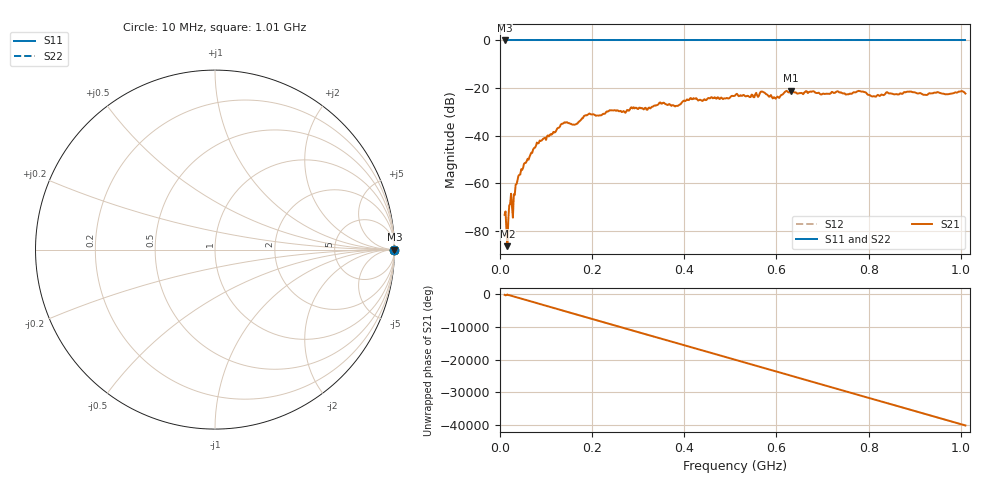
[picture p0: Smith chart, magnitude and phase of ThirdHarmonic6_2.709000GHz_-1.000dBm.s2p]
! 8/17/2025 6:32:13 AM
! C:\ANRITSUVNA\TEMP\TEMP.S2P
! CHANNEL.1
! TR.MEASUREMENT
! RAW.DATA
! RF.CORRECTION.OFF
! AVERAGING.OFF
! IF.BANDWIDTH: 5KHZ
! SWEEPTYPE:  FREQ.SWEEP(Linear)
! Reference Plane Port Info
! PORT:  PORT1  PORT2
! DISTANCE:  0  m  0  m
! TIME:  0  s  0  s
! PHASE.OFFSET:  0  deg.  0  deg.
! LOSS:  0  dB  0  dB
! REF.LOSS:  0  dB  0  dB
! REF.FREQ:  0  Hz  0  Hz
! Power Info
! POWER:  -20  dBm  -20  dBm
! EFF.POWER:  -20  dBm  -20  dBm
! SOURCE.ATTEN:  0  dB  0  dB
! TEST.ATTEN:  0  dB  0  dB
# GHZ S RI R 50.0
! FREQ.GHZ  S11RE  S11IM  S21RE  S21IM  S12RE  S12IM  S22RE  S22IM
!; PortSelection: Port_12
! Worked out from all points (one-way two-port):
!   501 points, 10 MHz to 1.01 GHz, reference 50 ohm
!   highest |S21| = -21.14 dB at 632 MHz (marker M1); lowest = -86.4 dB at 16 MHz (marker M2)
!   lowest |S11| = 0.0 dB at 10 MHz (marker M3)
!   |S11| at or under -10 dB: nowhere
!   |S22| runs from 0.0 to 0.0 dB; largest |S21 - S12| = 1.1
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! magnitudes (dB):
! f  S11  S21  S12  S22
! 10 MHz  0.0  -73.1  0.0  0.0
! 16 MHz  0.0  -86.4  0.0  0.0
! 22 MHz  0.0  -68.7  0.0  0.0
! 30 MHz  0.0  -64.6  0.0  0.0
! 34 MHz  0.0  -60.6  0.0  0.0
! 42 MHz  0.0  -56.4  0.0  0.0
! 76 MHz  0.0  -45.0  0.0  0.0
! 136 MHz  0.0  -34.9  0.0  0.0
! 164 MHz  0.0  -35.3  0.0  0.0
! 178 MHz  0.0  -32.7  0.0  0.0
! 344 MHz  0.0  -26.8  0.0  0.0
! 382 MHz  0.0  -27.5  0.0  0.0
! 416 MHz  0.0  -24.6  0.0  0.0
! 510 MHz  0.0  -23.2  0.0  0.0
! 570 MHz  0.0  -21.5  0.0  0.0
! 596 MHz  0.0  -23.9  0.0  0.0
! 632 MHz  0.0  -21.1  0.0  0.0
! 678 MHz  0.0  -21.4  0.0  0.0
! 782 MHz  0.0  -21.3  0.0  0.0
! 812 MHz  0.0  -23.4  0.0  0.0
! 844 MHz  0.0  -22.2  0.0  0.0
! 1.01 GHz  0.0  -22.3  0.0  0.0
